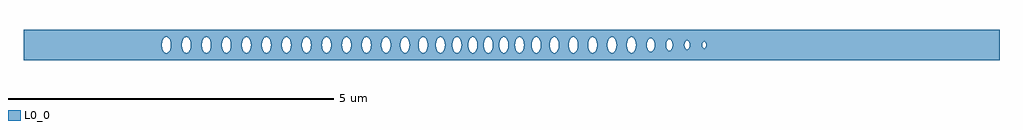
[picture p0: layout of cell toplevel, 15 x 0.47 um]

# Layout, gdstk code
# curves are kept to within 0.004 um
import gdstk
lib = gdstk.Library(unit=1e-6, precision=1e-09)
def P(c, l, *ps):  # polygons
    for p in ps: c.add(gdstk.Polygon(p, *l))
L0_0 = (0, 0)

toplevel = lib.new_cell('toplevel')
P(toplevel, L0_0, [(-4.759,0.016),(-4.755,0.046),(-4.74,0.085),(-4.74,0.235),(-7.5,0.235),(-7.5,-0.008),(-5.375,-0.008),(-5.373,0.031),(-5.359,0.079),(-5.338,0.109),(-5.309,0.124),(-5.278,0.115),(-5.253,0.085),(-5.237,0.038),(-5.235,-0.016),(-5.067,-0.016),(-5.064,0.038),(-5.054,0.073),(-5.031,0.109),(-5.001,0.124),(-4.975,0.118),(-4.952,0.096),(-4.935,0.06),(-4.926,0.008),(-4.931,-0.046),(-4.942,-0.079),(-4.963,-0.109),(-4.992,-0.124),(-5.019,-0.118),(-5.042,-0.096),(-5.061,-0.053),(-5.067,-0.016),(-5.235,-0.016),(-5.247,-0.073),(-5.26,-0.096),(-5.283,-0.118),(-5.309,-0.124),(-5.338,-0.109),(-5.356,-0.085),(-5.37,-0.046),(-5.375,-0.008),(-7.5,-0.008),(-7.5,-0.235),(-4.74,-0.235),(-4.74,-0.085),(-4.755,-0.046)],
  [(-4.734,0.096),(-4.711,0.118),(-4.694,0.124),(-4.676,0.122),(-4.655,0.109),(-4.627,0.06),(-4.619,-0.008),(-4.452,-0.008),(-4.447,0.046),(-4.43,0.09),(-4.403,0.118),(-4.386,0.124),(-4.368,0.122),(-4.347,0.109),(-4.324,0.073),(-4.314,0.038),(-4.311,-0.008),(-4.316,-0.046),(-4.336,-0.096),(-4.355,-0.115),(-4.377,-0.124),(-4.403,-0.118),(-4.43,-0.09),(-4.447,-0.046),(-4.452,-0.008),(-4.619,-0.008),(-4.632,-0.073),(-4.644,-0.096),(-4.667,-0.118),(-4.685,-0.124),(-4.707,-0.12),(-4.727,-0.105),(-4.74,-0.085),(-4.74,-0.235),(-4.056,-0.235),(-4.056,-0.12),(-4.083,-0.123),(-4.108,-0.109),(-4.131,-0.073),(-4.144,-0.016),(-4.141,0.038),(-4.119,0.096),(-4.087,0.122),(-4.056,0.12),(-4.056,0.235),(-4.74,0.235),(-4.74,0.085)],
  [(-4.056,0.235),(-4.056,0.12),(-4.036,0.105),(-4.019,0.079),(-4.008,0.046),(-4.003,0),(-3.837,0),(-3.832,0.046),(-3.817,0.085),(-3.8,0.109),(-3.77,0.124),(-3.744,0.118),(-3.721,0.096),(-3.704,0.06),(-3.696,0.016),(-3.699,-0.038),(-3.709,-0.073),(-3.732,-0.109),(-3.762,-0.124),(-3.788,-0.118),(-3.811,-0.096),(-3.832,-0.046),(-3.837,0),(-4.003,0),(-4.008,-0.046),(-4.019,-0.079),(-4.036,-0.105),(-4.056,-0.12),(-4.056,-0.235),(-3.399,-0.235),(-3.399,-0.067),(-3.424,-0.109),(-3.445,-0.122),(-3.472,-0.122),(-3.492,-0.109),(-3.51,-0.085),(-3.524,-0.046),(-3.529,-0.008),(-3.527,0.031),(-3.513,0.079),(-3.48,0.118),(-3.454,0.124),(-3.432,0.115),(-3.413,0.096),(-3.399,0.066),(-3.399,0.235)],
  [(-2.604,-0.235),(-2.604,0.235),(-3.399,0.235),(-3.399,0.065),(-3.39,0.031),(-3.388,-0.016),(-3.221,-0.016),(-3.218,0.038),(-3.208,0.073),(-3.185,0.109),(-3.155,0.124),(-3.129,0.118),(-3.102,0.09),(-3.085,0.046),(-3.08,0),(-2.914,0),(-2.909,0.046),(-2.894,0.085),(-2.877,0.109),(-2.847,0.124),(-2.821,0.118),(-2.798,0.096),(-2.781,0.06),(-2.773,0.016),(-2.776,-0.038),(-2.786,-0.073),(-2.809,-0.109),(-2.839,-0.124),(-2.865,-0.118),(-2.888,-0.096),(-2.909,-0.046),(-2.914,0),(-3.08,0),(-3.085,-0.046),(-3.099,-0.085),(-3.117,-0.109),(-3.146,-0.124),(-3.173,-0.118),(-3.196,-0.096),(-3.208,-0.073),(-3.221,-0.016),(-3.388,-0.016),(-3.399,-0.066),(-3.399,-0.235)],
  [(-1.998,0.016),(-1.986,0.073),(-1.963,0.109),(-1.963,0.235),(-2.604,0.235),(-2.604,0.031),(-2.59,0.079),(-2.577,0.1),(-2.557,0.118),(-2.531,0.124),(-2.501,0.109),(-2.484,0.085),(-2.468,0.038),(-2.465,-0.008),(-2.3,-0.008),(-2.295,0.046),(-2.281,0.085),(-2.251,0.118),(-2.225,0.124),(-2.207,0.118),(-2.184,0.096),(-2.167,0.06),(-2.159,0.016),(-2.162,-0.038),(-2.172,-0.073),(-2.195,-0.109),(-2.225,-0.124),(-2.251,-0.118),(-2.274,-0.096),(-2.291,-0.06),(-2.3,-0.008),(-2.465,-0.008),(-2.47,-0.046),(-2.49,-0.096),(-2.509,-0.115),(-2.531,-0.124),(-2.557,-0.118),(-2.577,-0.1),(-2.59,-0.079),(-2.604,-0.032),(-2.604,-0.235),(-1.963,-0.235),(-1.963,-0.109),(-1.986,-0.073),(-1.994,-0.046)],
  [(-1.95,0.118),(-1.933,0.124),(-1.915,0.122),(-1.884,0.096),(-1.863,0.046),(-1.858,-0.008),(-1.708,-0.008),(-1.705,0.038),(-1.686,0.09),(-1.659,0.118),(-1.642,0.124),(-1.624,0.122),(-1.6,0.105),(-1.583,0.079),(-1.569,0.031),(-1.567,-0.008),(-1.572,-0.046),(-1.586,-0.085),(-1.604,-0.109),(-1.633,-0.124),(-1.659,-0.118),(-1.686,-0.09),(-1.703,-0.046),(-1.708,-0.008),(-1.858,-0.008),(-1.869,-0.066),(-1.895,-0.109),(-1.924,-0.124),(-1.942,-0.122),(-1.963,-0.109),(-1.963,-0.235),(-1.314,-0.235),(-1.314,-0.096),(-1.345,-0.122),(-1.363,-0.124),(-1.385,-0.115),(-1.404,-0.096),(-1.416,-0.073),(-1.429,-0.016),(-1.42,0.06),(-1.393,0.109),(-1.372,0.122),(-1.354,0.124),(-1.337,0.118),(-1.314,0.096),(-1.314,0.235),(-1.963,0.235),(-1.963,0.109)],
  [(-1.314,0.235),(-1.314,0.096),(-1.293,0.046),(-1.289,-0.016),(-1.163,-0.016),(-1.16,0.038),(-1.15,0.073),(-1.127,0.109),(-1.097,0.124),(-1.071,0.118),(-1.044,0.09),(-1.027,0.046),(-1.022,0.008),(-1.024,-0.031),(-1.038,-0.079),(-1.059,-0.109),(-1.088,-0.124),(-1.114,-0.118),(-1.138,-0.096),(-1.15,-0.073),(-1.163,-0.016),(-1.289,-0.016),(-1.297,-0.06),(-1.314,-0.096),(-1.314,-0.235),(-0.768,-0.235),(-0.768,-0.008),(-0.773,-0.046),(-0.787,-0.085),(-0.805,-0.109),(-0.834,-0.124),(-0.861,-0.118),(-0.884,-0.096),(-0.901,-0.06),(-0.909,-0.016),(-0.906,0.038),(-0.896,0.073),(-0.873,0.109),(-0.843,0.124),(-0.817,0.118),(-0.794,0.096),(-0.777,0.06),(-0.768,0.008),(-0.768,0.235)],
  [(-0.187,0.031),(-0.167,0.09),(-0.167,0.235),(-0.768,0.235),(-0.768,-0.008),(-0.665,-0.008),(-0.662,0.038),(-0.652,0.073),(-0.629,0.109),(-0.599,0.124),(-0.573,0.118),(-0.543,0.085),(-0.526,0.031),(-0.525,-0.016),(-0.426,-0.016),(-0.423,0.038),(-0.413,0.073),(-0.39,0.109),(-0.36,0.124),(-0.334,0.118),(-0.304,0.085),(-0.29,0.046),(-0.285,0),(-0.29,-0.046),(-0.304,-0.085),(-0.322,-0.109),(-0.351,-0.124),(-0.378,-0.118),(-0.401,-0.096),(-0.418,-0.06),(-0.426,-0.016),(-0.525,-0.016),(-0.533,-0.061),(-0.55,-0.096),(-0.573,-0.118),(-0.599,-0.124),(-0.629,-0.109),(-0.646,-0.085),(-0.662,-0.038),(-0.665,-0.008),(-0.768,-0.008),(-0.768,-0.235),(-0.167,-0.235),(-0.167,-0.09),(-0.186,-0.038)],
  [(-0.16,0.1),(-0.145,0.115),(-0.123,0.124),(-0.105,0.122),(-0.081,0.105),(-0.064,0.079),(-0.053,0.046),(-0.049,-0.016),(0.053,-0.016),(0.056,0.038),(0.078,0.096),(0.101,0.118),(0.136,0.122),(0.161,0.105),(0.178,0.079),(0.192,0.031),(0.194,-0.008),(0.189,-0.046),(0.175,-0.085),(0.157,-0.109),(0.128,-0.124),(0.101,-0.118),(0.078,-0.096),(0.066,-0.073),(0.053,-0.016),(-0.049,-0.016),(-0.067,-0.085),(-0.085,-0.109),(-0.105,-0.122),(-0.123,-0.124),(-0.14,-0.118),(-0.167,-0.09),(-0.167,-0.235),(0.402,-0.235),(0.402,-0.118),(0.371,-0.123),(0.342,-0.105),(0.318,-0.06),(0.31,-0.016),(0.316,0.053),(0.335,0.096),(0.367,0.122),(0.402,0.118),(0.402,0.235),(-0.167,0.235),(-0.167,0.09)],
  [(1.009,-0.066),(0.995,-0.096),(0.976,-0.115),(0.954,-0.124),(0.928,-0.118),(0.895,-0.079),(0.881,-0.031),(0.879,0.008),(0.884,0.046),(0.898,0.085),(0.916,0.109),(0.945,0.124),(0.971,0.118),(0.995,0.096),(1.017,0.038),(1.017,0.235),(0.402,0.235),(0.402,0.118),(0.425,0.096),(0.44,0.066),(0.45,-0.016),(0.587,-0.016),(0.59,0.038),(0.6,0.073),(0.623,0.109),(0.653,0.124),(0.679,0.118),(0.706,0.09),(0.723,0.046),(0.728,0.008),(0.726,-0.031),(0.712,-0.079),(0.691,-0.109),(0.662,-0.124),(0.636,-0.118),(0.612,-0.096),(0.6,-0.073),(0.587,-0.016),(0.45,-0.016),(0.437,-0.073),(0.425,-0.096),(0.402,-0.118),(0.402,-0.235),(1.017,-0.235),(1.017,-0.039)],
  [(1.019,-0.023),(1.017,-0.235),(1.784,-0.235),(1.784,-0.066),(1.773,-0.016),(1.775,0.031),(1.784,0.065),(1.784,0.235),(1.017,0.235),(1.02,-0.008),(1.176,-0.008),(1.178,0.031),(1.192,0.079),(1.213,0.109),(1.242,0.124),(1.277,0.112),(1.298,0.085),(1.314,0.038),(1.317,-0.008),(1.473,-0.008),(1.476,0.038),(1.499,0.096),(1.53,0.122),(1.548,0.124),(1.565,0.118),(1.598,0.079),(1.612,0.031),(1.614,-0.008),(1.598,-0.079),(1.581,-0.105),(1.557,-0.122),(1.53,-0.122),(1.499,-0.096),(1.482,-0.06),(1.473,-0.008),(1.317,-0.008),(1.314,-0.038),(1.298,-0.085),(1.277,-0.112),(1.251,-0.124),(1.225,-0.118),(1.198,-0.09),(1.181,-0.046),(1.176,-0.008),(1.02,-0.008)],
  [(1.786,0.073),(1.798,0.096),(1.817,0.115),(1.839,0.124),(1.857,0.122),(1.881,0.105),(1.898,0.079),(1.912,0.031),(1.914,-0.007),(2.08,-0.007),(2.084,0.039),(2.099,0.078),(2.118,0.099),(2.148,0.106),(2.173,0.09),(2.19,0.063),(2.201,-0.013),(2.182,-0.078),(2.163,-0.099),(2.141,-0.107),(2.118,-0.099),(2.099,-0.078),(2.084,-0.039),(2.08,-0.007),(1.914,-0.007),(1.909,-0.046),(1.895,-0.085),(1.877,-0.109),(1.848,-0.124),(1.83,-0.122),(1.809,-0.109),(1.784,-0.067),(1.784,-0.235),(2.438,-0.235),(2.438,-0.086),(2.416,-0.088),(2.398,-0.075),(2.381,-0.043),(2.375,-0.011),(2.378,0.033),(2.393,0.069),(2.416,0.088),(2.438,0.086),(2.438,0.235),(1.784,0.235)],
  [(2.475,-0.017),(2.465,-0.057),(2.438,-0.086),(2.438,-0.235),(7.5,-0.235),(7.5,0.235),(2.438,0.235),(2.438,0.086),(2.465,0.057),(2.476,-0.005),(2.657,-0.005),(2.668,0.049),(2.678,0.063),(2.696,0.072),(2.713,0.067),(2.728,0.049),(2.737,0.022),(2.738,-0.01),(2.932,-0.01),(2.941,0.04),(2.959,0.054),(2.981,0.044),(2.992,0.017),(2.99,-0.026),(2.97,-0.053),(2.955,-0.053),(2.944,-0.044),(2.932,-0.01),(2.738,-0.01),(2.728,-0.049),(2.718,-0.063),(2.701,-0.072),(2.683,-0.067),(2.668,-0.049),(2.657,-0.005),(2.476,-0.005)])

lib.write_gds('toplevel.gds')
